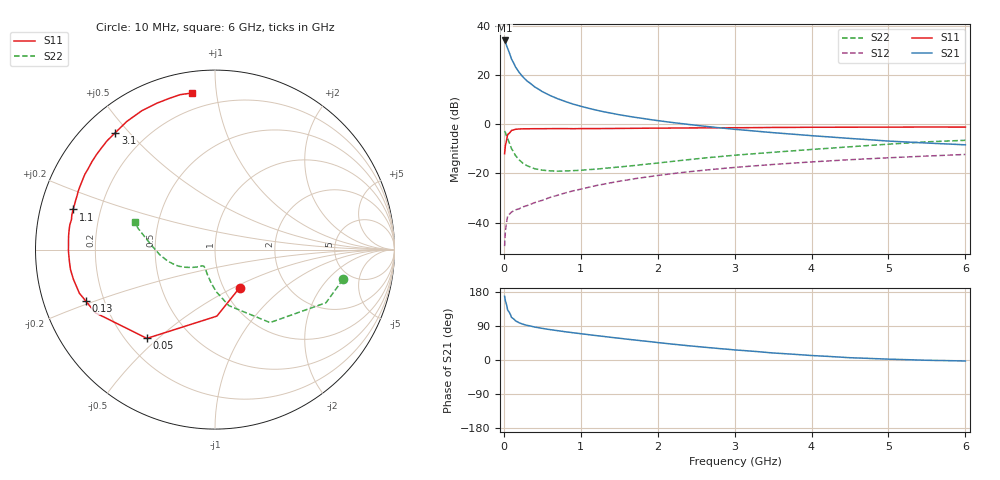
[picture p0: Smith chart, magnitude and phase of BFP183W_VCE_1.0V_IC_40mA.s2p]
! Infineon Technologies  Discrete & RF Semiconductors
! BFP183W
! VCE =  1.0 V,  IC =  40 mA
! Common Emitter S-Parameters:  Jan 2017
# GHz  S  MA  R  50
!  f  S11  S21  S12  S22
! GHz  MAG  ANG  MAG  ANG  MAG  ANG  MAG  ANG
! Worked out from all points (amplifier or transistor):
!   77 points, 10 MHz to 6 GHz, reference 50 ohm
!   highest |S21| = 34.2 dB at 10 MHz (marker M1)
!   |S21| within 3 dB of that: start of sweep to 46.03 MHz
!   unconditionally stable (mu >= 1): start of sweep to 12.71 MHz; 305.7 MHz to end of sweep
!   at 130 MHz: K = 0.58, MSG = 30.0 dB, |S12| = -35.2 dB
!   at 2.2 GHz: K = 1.39, MAG = 6.7 dB, |S12| = -20.1 dB
!   at 6 GHz: K = 1.24, MAG = -1.0 dB, |S12| = -12.3 dB
!   S11 on the Smith chart (normalised r, x): 10 MHz: 1.19, -0.54; 50 MHz: 0.28, -0.46; 130 MHz: 0.13, -0.19; 1.1 GHz: 0.10, +0.14; 3.1 GHz: 0.09, +0.46; 6 GHz: 0.11, +0.86
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0.01  0.2533 -57.2  51.33 168.2  0.0033 75.2  0.7323 -13.1
0.02  0.3708 -88.4  47.98 156.3  0.0066 70.3  0.6855 -25.6
0.05  0.6234 -127.5  35.01 131.6  0.0136 47.3  0.5093 -53.0
0.1  0.7535 -152.1  21.4 112.4  0.0164 39.0  0.321 -76.2
0.13  0.7749 -158.3  17.5 107.9  0.0174 37.3  0.2671 -82.6
0.15  0.7939 -162.2  14.99 103.7  0.0181 36.3  0.2337 -88.5
0.2  0.8059 -168.1  11.42 98.1  0.0191 38.8  0.1883 -96.3
0.25  0.8128 -172.1  9.208 94.3  0.0209 39.3  0.1609 -102.4
0.3  0.8137 -175.0  7.702 91.5  0.0221 42.4  0.1441 -107.3
0.4  0.8166 -179.3  5.814 86.9  0.0254 48.8  0.1251 -114.2
0.5  0.8169 177.7  4.654 83.4  0.0284 51.4  0.1168 -118.6
0.6  0.8191 174.9  3.888 80.2  0.0325 54.5  0.1131 -122.3
0.7  0.8201 172.5  3.334 77.4  0.036 57.9  0.1113 -124.5
0.9  0.817 168.2  2.592 71.9  0.0442 59.9  0.1141 -127.7
1.1  0.8218 164.2  2.133 66.9  0.0521 62.2  0.1198 -129.8
1.5  0.8284 157.0  1.573 57.4  0.0694 62.9  0.1355 -135.1
2.1  0.8399 146.1  1.14 43.9  0.0952 60.8  0.1698 -144.2
2.6  0.8491 138.0  0.92 33.8  0.1163 57.9  0.206 -152.3
3.1  0.8561 130.4  0.77 25.2  0.1366 54.3  0.2419 -160.1
4.1  0.8745 116.6  0.574 10.8  0.1756 46.9  0.3161 -176.4
5.1  0.8806 106.1  0.449 1.7  0.2122 39.0  0.4043 168.9
6  0.8818 98.3  0.383 -2.6  0.244 31.9  0.474 161.0
